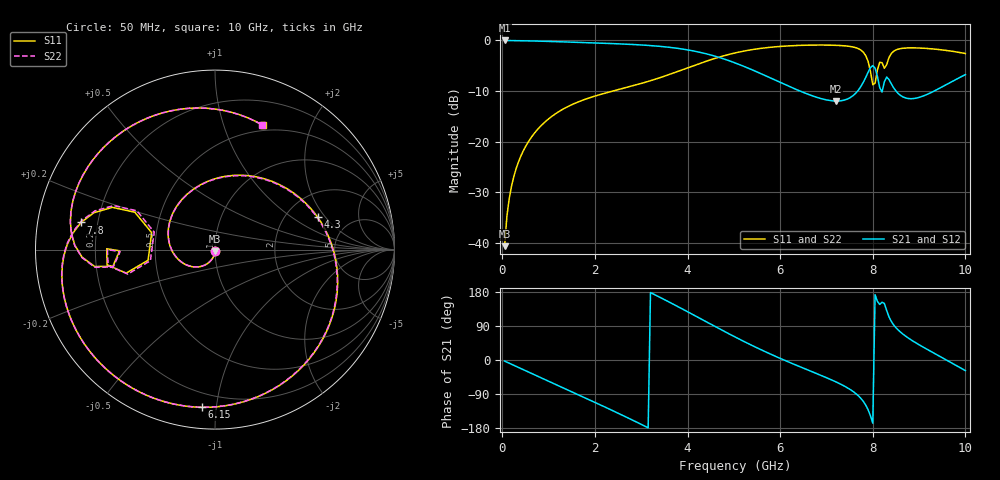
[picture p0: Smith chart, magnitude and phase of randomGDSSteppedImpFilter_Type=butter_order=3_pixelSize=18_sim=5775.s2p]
! freq	dB(S11)	phase(S11)	dB(S12)	phase(S12)
!  dB(S21)	phase(S21)	dB(S22)	phase(S22)
!S-par simulation data
#  GHz  S  DB  R 50
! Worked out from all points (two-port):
!   200 points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, 50 MHz to 10 GHz, reference 50 ohm
!   highest |S21| = 0.00 dB at 50 MHz (marker M1); lowest = -12.0 dB at 7.2 GHz (marker M2)
!   |S21| within 3 dB of the highest: start of sweep to 4.552 GHz
!   lowest |S11| = -40.7 dB at 50 MHz (marker M3), VSWR 1.02, Z = 50 - j0.922 ohm
!   |S11| at or under -10 dB: start of sweep to 2.394 GHz
!   |S22| runs from -40.7 to -0.9 dB; largest |S21 - S12| = 0
!   S11 on the Smith chart (normalised r, x): 50 MHz: 1.00, -0.02; 4.3 GHz: 2.97, +1.67; 6.15 GHz: 0.12, -0.92; 7.8 GHz: 0.14, +0.10; 10 GHz: 0.44, +1.36
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0.05  -40.69 -92.0  -0.00 -2.9  -0.00 -2.9  -40.69 -92.1
0.2  -28.79 -101.1  -0.02 -11.3  -0.02 -11.3  -28.79 -101.2
0.5  -21.03 -118.5  -0.07 -28.1  -0.07 -28.1  -21.03 -118.6
1.15  -14.50 -154.9  -0.23 -64.3  -0.23 -64.3  -14.49 -155.2
1.75  -11.77 171.7  -0.42 -97.7  -0.42 -97.7  -11.77 171.1
2.65  -9.39 120.5  -0.73 -149.1  -0.73 -149.1  -9.38 119.6
3.4  -7.38 75.3  -1.17 165.7  -1.17 165.7  -7.37 74.2
4.3  -4.44 17.5  -2.42 107.8  -2.42 107.8  -4.44 16.4
5.05  -2.42 -31.1  -4.53 59.3  -4.53 59.3  -2.42 -31.9
5.65  -1.49 -67.1  -6.84 23.5  -6.84 23.5  -1.49 -67.8
6.15  -1.09 -94.7  -8.91 -3.6  -8.91 -3.6  -1.09 -95.3
6.7  -0.92 -123.1  -10.97 -31.4  -10.97 -31.4  -0.92 -123.7
7.2  -0.96 -149.3  -11.98 -57.5  -11.98 -57.5  -0.96 -149.8
7.8  -2.37 168.6  -8.20 -110.0  -8.20 -110.0  -2.39 167.7
7.9  -4.17 157.6  -6.28 -131.7  -6.28 -131.7  -4.23 156.5
8  -8.75 165.0  -4.98 -166.7  -4.98 -166.7  -9.06 164.0
8.1  -5.81 -165.2  -7.10 154.6  -7.10 154.6  -5.95 -164.3
8.2  -4.39 179.6  -10.21 152.4  -10.21 152.4  -4.44 -180.0
8.35  -3.40 -172.0  -7.74 114.0  -7.74 114.0  -3.40 -171.6
8.65  -1.55 161.2  -11.16 68.4  -11.16 68.4  -1.55 161.3
9.2  -1.61 123.9  -10.57 26.4  -10.57 26.4  -1.60 124.1
10  -2.59 68.9  -6.76 -28.1  -6.76 -28.1  -2.58 69.3
